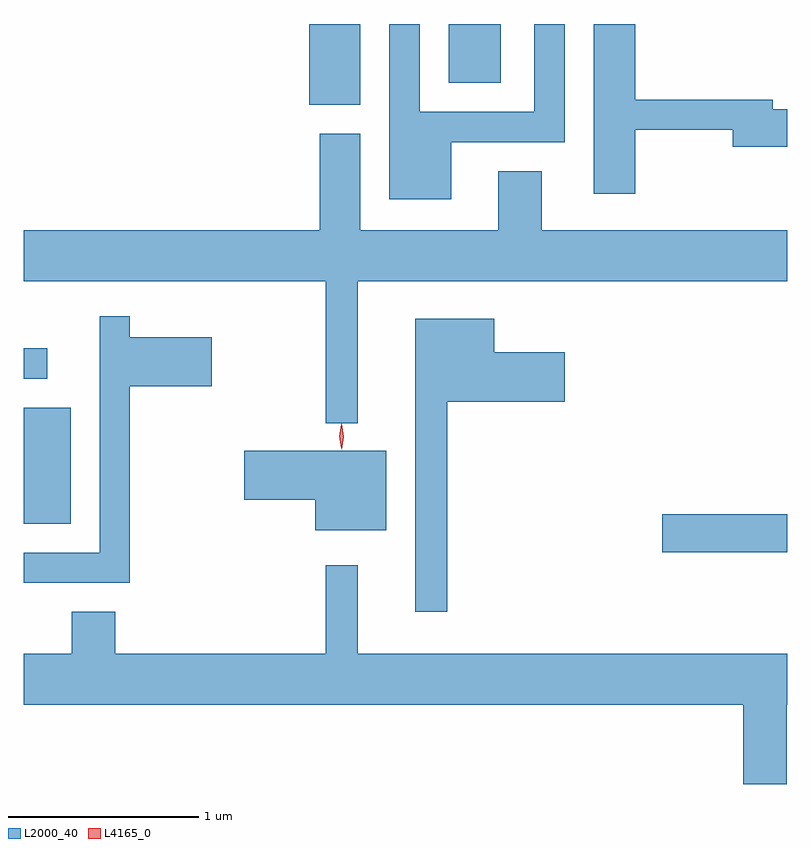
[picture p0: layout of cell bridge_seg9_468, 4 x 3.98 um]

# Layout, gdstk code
import gdstk
lib = gdstk.Library(unit=1e-6, precision=1e-09)
def R(c, l, rs):  # rectangles x0, y0, x1, y1
    for r in rs: c.add(gdstk.rectangle(r[:2], r[2:], *l))
def P(c, l, *ps):  # polygons
    for p in ps: c.add(gdstk.Polygon(p, *l))
L2000_40 = (2000, 40)
L4165_0 = (4165, 0)

bridge_seg9_468 = lib.new_cell('bridge_seg9_468')
R(bridge_seg9_468, L2000_40, [(470.936,1988.176,471.59,1988.374), (467.59,1988.326,467.834,1988.934), (467.59,1989.086,467.713,1989.244), (469.086,1990.521,469.354,1990.945), (469.816,1990.636,470.089,1990.945)])
P(bridge_seg9_468, L2000_40, [(469.829,1990.326),(470.424,1990.326),(470.424,1990.945),(470.266,1990.945),(470.266,1990.484),(469.664,1990.484),(469.664,1990.945),(469.506,1990.945),(469.506,1990.026),(469.829,1990.026)],
  [(470.794,1990.391),(471.306,1990.391),(471.306,1990.301),(471.59,1990.301),(471.59,1990.499),(471.514,1990.499),(471.514,1990.549),(470.794,1990.549),(470.794,1990.945),(470.576,1990.945),(470.576,1990.056),(470.794,1990.056)],
  [(469.339,1989.596),(471.59,1989.596),(471.59,1989.864),(470.304,1989.864),(470.304,1990.174),(470.076,1990.174),(470.076,1989.864),(469.354,1989.864),(469.354,1990.369),(469.141,1990.369),(469.141,1989.864),(467.59,1989.864),(467.59,1989.596),(469.171,1989.596),(469.171,1988.853),(469.339,1988.853)],
  [(468.144,1989.046),(468.574,1989.046),(468.574,1989.304),(468.144,1989.304),(468.144,1989.413),(467.986,1989.413),(467.986,1988.174),(467.59,1988.174),(467.59,1988.016),(468.144,1988.016)],
  [(469.809,1988.966),(470.424,1988.966),(470.424,1989.224),(470.054,1989.224),(470.054,1989.399),(469.641,1989.399),(469.641,1987.863),(469.809,1987.863)],
  [(469.489,1988.709),(468.746,1988.709),(468.746,1988.451),(469.116,1988.451),(469.116,1988.291),(469.489,1988.291)],
  [(471.589,1987.376),(471.59,1987.376),(471.59,1987.644),(469.339,1987.644),(469.339,1988.108),(469.171,1988.108),(469.171,1987.644),(468.069,1987.644),(468.069,1987.864),(467.841,1987.864),(467.841,1987.644),(467.59,1987.644),(467.59,1987.376),(471.361,1987.376),(471.361,1986.961),(471.589,1986.961)])
P(bridge_seg9_468, L4165_0, [(469.254,1988.72),(469.254,1988.721),(469.244,1988.783),(469.253,1988.846),(469.254,1988.847),(469.254,1988.846),(469.264,1988.783),(469.255,1988.721)],
  [(469.255,1988.714),(469.246,1988.782),(469.255,1988.849),(469.255,1988.85),(469.256,1988.849),(469.266,1988.782),(469.256,1988.714),(469.256,1988.714)])

lib.write_gds('bridge_seg9_468.gds')
